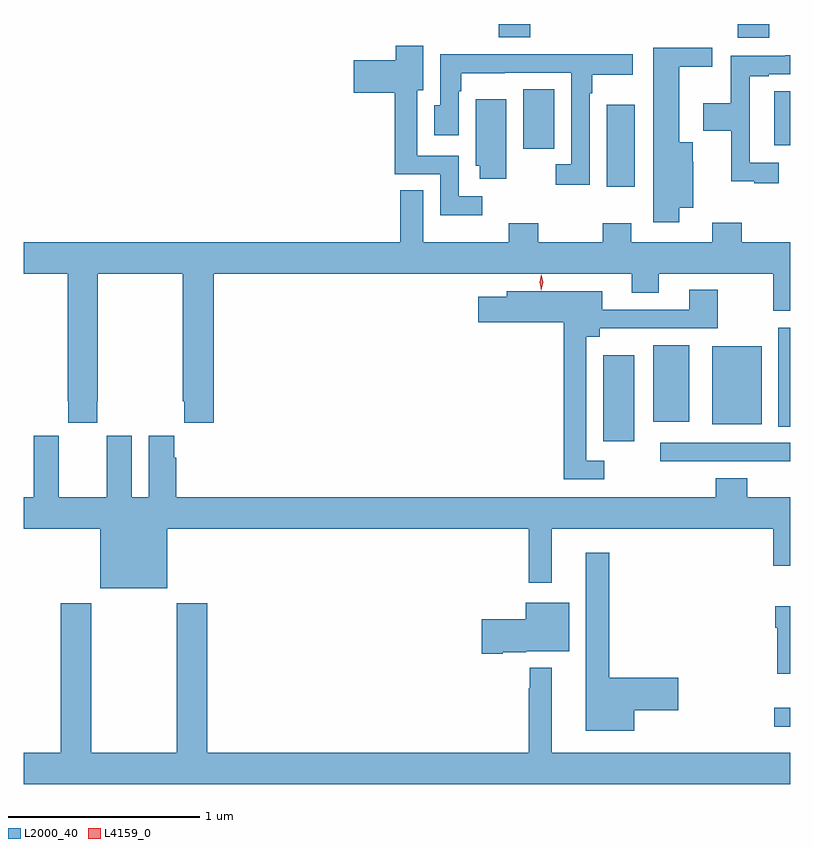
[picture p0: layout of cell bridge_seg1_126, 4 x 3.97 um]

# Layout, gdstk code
import gdstk
lib = gdstk.Library(unit=1e-6, precision=1e-09)
def R(c, l, rs):  # rectangles x0, y0, x1, y1
    for r in rs: c.add(gdstk.rectangle(r[:2], r[2:], *l))
def P(c, l, *ps):  # polygons
    for p in ps: c.add(gdstk.Polygon(p, *l))
L2000_40 = (2000, 40)
L4159_0 = (4159, 0)

bridge_seg1_126 = lib.new_cell('bridge_seg1_126')
R(bridge_seg1_126, L2000_40, [(498.549,517.4,498.633,517.497), (497.955,518.784,498.633,518.88), (497.657,518.889,497.818,519.337), (498.572,518.965,498.633,519.481), (498.227,518.978,498.484,519.385), (497.918,518.99,498.106,519.391), (497.675,520.218,497.821,520.645), (497.24,520.416,497.401,520.727), (498.551,520.433,498.633,520.717), (498.359,520.994,498.524,521.067), (497.111,520.997,497.276,521.067)])
P(bridge_seg1_126, L2000_40, [(497.026,520.167),(496.902,520.167),(496.902,520.38),(496.687,520.38),(496.687,520.721),(496.717,520.721),(496.717,520.954),(496.574,520.954),(496.574,520.879),(496.356,520.879),(496.356,520.709),(496.569,520.709),(496.569,520.284),(496.806,520.284),(496.806,520.07),(497.026,520.07)],
  [(498.055,520.109),(498.127,520.109),(498.127,520.349),(498.124,520.349),(498.124,520.451),(498.055,520.451),(498.055,520.844),(498.226,520.844),(498.226,520.942),(497.918,520.942),(497.918,520.032),(498.055,520.032)],
  [(497.586,520.706),(497.599,520.706),(497.599,520.802),(497.812,520.802),(497.812,520.91),(497.393,520.91),(497.393,520.908),(497.027,520.908),(497.027,520.91),(496.806,520.91),(496.806,520.644),(496.775,520.644),(496.775,520.485),(496.902,520.485),(496.902,520.715),(496.915,520.715),(496.915,520.811),(497.144,520.811),(497.144,520.812),(497.49,520.812),(497.49,520.335),(497.409,520.335),(497.409,520.227),(497.586,520.227)],
  [(498.574,520.344),(498.423,520.344),(498.423,520.794),(498.52,520.794),(498.52,520.806),(498.633,520.806),(498.633,520.904),(498.607,520.904),(498.607,520.902),(498.322,520.902),(498.322,520.654),(498.18,520.654),(498.18,520.509),(498.326,520.509),(498.326,520.246),(498.446,520.246),(498.446,520.236),(498.574,520.236)],
  [(497.152,520.675),(496.991,520.675),(496.991,520.326),(497.012,520.326),(497.012,520.26),(497.152,520.26)],
  [(495.015,519.097),(495.018,519.097),(495.018,519.764),(495.463,519.764),(495.463,519.097),(495.469,519.097),(495.469,518.985),(495.623,518.985),(495.623,519.764),(497.807,519.764),(497.807,519.665),(497.947,519.665),(497.947,519.764),(498.544,519.764),(498.544,519.57),(498.633,519.57),(498.633,519.928),(498.38,519.928),(498.38,520.03),(498.227,520.03),(498.227,519.928),(497.803,519.928),(497.803,520.027),(497.656,520.027),(497.656,519.928),(497.319,519.928),(497.319,520.027),(497.164,520.027),(497.164,519.928),(496.717,519.928),(496.717,520.199),(496.599,520.199),(496.599,519.928),(494.633,519.928),(494.633,519.764),(494.863,519.764),(494.863,519.097),(494.865,519.097),(494.865,518.985),(495.015,518.985)],
  [(497.662,518.787),(497.568,518.787),(497.568,519.434),(497.638,519.434),(497.638,519.48),(498.255,519.48),(498.255,519.679),(498.107,519.679),(498.107,519.576),(497.653,519.576),(497.653,519.673),(497.153,519.673),(497.153,519.643),(497.004,519.643),(497.004,519.509),(497.452,519.509),(497.452,518.691),(497.662,518.691)],
  [(495.382,518.432),(497.268,518.432),(497.268,518.151),(497.389,518.151),(497.389,518.432),(498.545,518.432),(498.545,518.238),(498.633,518.238),(498.633,518.596),(498.41,518.596),(498.41,518.695),(498.245,518.695),(498.245,518.596),(495.428,518.596),(495.428,518.804),(495.418,518.804),(495.418,518.917),(495.284,518.917),(495.284,518.596),(495.196,518.596),(495.196,518.917),(495.066,518.917),(495.066,518.804),(495.065,518.804),(495.065,518.596),(494.815,518.596),(494.815,518.804),(494.814,518.804),(494.814,518.917),(494.684,518.917),(494.684,518.596),(494.633,518.596),(494.633,518.432),(495.032,518.432),(495.032,518.123),(495.382,518.123)],
  [(497.818,517.484),(498.049,517.484),(498.049,517.655),(497.689,517.655),(497.689,518.308),(497.567,518.308),(497.567,517.379),(497.818,517.379)],
  [(497.134,517.787),(497.256,517.787),(497.256,517.793),(497.479,517.793),(497.479,518.047),(497.252,518.047),(497.252,517.959),(497.022,517.959),(497.022,517.781),(497.134,517.781)],
  [(498.633,517.264),(497.389,517.264),(497.389,517.708),(497.275,517.708),(497.275,517.601),(497.268,517.601),(497.268,517.264),(495.59,517.264),(495.59,518.044),(495.43,518.044),(495.43,517.264),(494.985,517.264),(494.985,518.044),(494.825,518.044),(494.825,517.264),(494.633,517.264),(494.633,517.1),(498.633,517.1)],
  [(498.633,518.029),(498.554,518.029),(498.554,517.916),(498.566,517.916),(498.566,517.676),(498.633,517.676)])
P(bridge_seg1_126, L4159_0, [(497.335,519.677),(497.335,519.677),(497.325,519.718),(497.334,519.758),(497.335,519.759),(497.335,519.758),(497.345,519.718),(497.335,519.677)])

lib.write_gds('bridge_seg1_126.gds')
